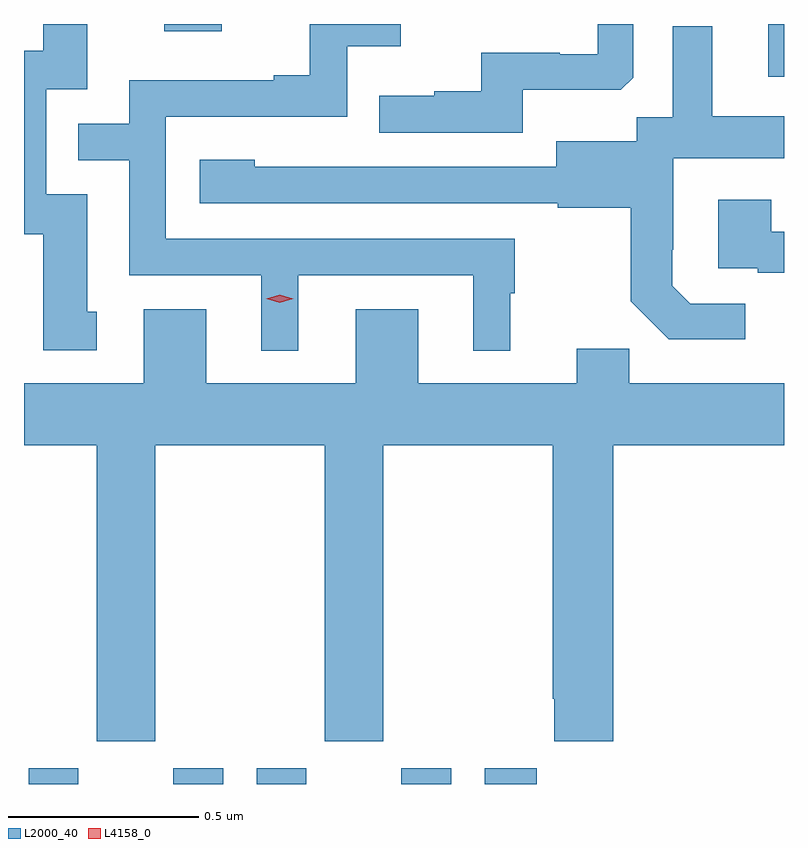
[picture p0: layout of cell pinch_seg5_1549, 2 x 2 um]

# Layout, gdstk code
import gdstk
lib = gdstk.Library(unit=1e-6, precision=1e-09)
def R(c, l, rs):  # rectangles x0, y0, x1, y1
    for r in rs: c.add(gdstk.rectangle(r[:2], r[2:], *l))
def P(c, l, *ps):  # polygons
    for p in ps: c.add(gdstk.Polygon(p, *l))
L2000_40 = (2000, 40)
L4158_0 = (4158, 0)

pinch_seg5_1549 = lib.new_cell('pinch_seg5_1549')
R(pinch_seg5_1549, L2000_40, [(197.69,843.881,197.821,843.922), (198.071,843.881,198.202,843.922), (198.29,843.881,198.421,843.922), (198.671,843.881,198.802,843.922), (198.89,843.881,199.027,843.922), (199.637,845.742,199.678,845.881), (198.047,845.862,198.199,845.881)])
P(pinch_seg5_1549, L2000_40, [(198.4,845.22),(198.86,845.22),(198.86,845.021),(198.958,845.021),(198.958,845.172),(198.97,845.172),(198.97,845.316),(198.051,845.316),(198.051,845.637),(198.528,845.637),(198.528,845.822),(198.67,845.822),(198.67,845.881),(198.43,845.881),(198.43,845.746),(198.335,845.746),(198.335,845.733),(197.955,845.733),(197.955,845.619),(197.821,845.619),(197.821,845.523),(197.955,845.523),(197.955,845.22),(198.302,845.22),(198.302,845.021),(198.4,845.021)],
  [(198.991,845.708),(199.249,845.708),(199.281,845.739),(199.281,845.881),(199.188,845.881),(199.188,845.802),(199.088,845.802),(199.088,845.805),(198.881,845.805),(198.881,845.704),(198.757,845.704),(198.757,845.692),(198.613,845.692),(198.613,845.595),(198.991,845.595)],
  [(197.869,845.124),(197.845,845.124),(197.845,845.433),(197.736,845.433),(197.736,845.709),(197.845,845.709),(197.845,845.881),(197.729,845.881),(197.729,845.81),(197.678,845.81),(197.678,845.328),(197.729,845.328),(197.729,845.022),(197.869,845.022)],
  [(199.576,845.145),(199.431,845.145),(199.384,845.192),(199.384,845.287),(199.386,845.287),(199.386,845.528),(199.678,845.528),(199.678,845.638),(199.489,845.638),(199.489,845.875),(199.385,845.875),(199.385,845.636),(199.29,845.636),(199.29,845.572),(199.079,845.572),(199.079,845.505),(198.521,845.505),(198.521,845.506),(198.285,845.506),(198.285,845.524),(198.141,845.524),(198.141,845.409),(199.083,845.409),(199.083,845.397),(199.275,845.397),(199.275,845.151),(199.375,845.051),(199.576,845.051)],
  [(199.678,845.334),(199.645,845.334),(199.645,845.419),(199.505,845.419),(199.505,845.238),(199.609,845.238),(199.609,845.226),(199.678,845.226)],
  [(198.024,844.772),(198.469,844.772),(198.469,843.993),(198.624,843.993),(198.624,844.772),(199.069,844.772),(199.069,844.105),(199.073,844.105),(199.073,843.993),(199.229,843.993),(199.229,844.772),(199.678,844.772),(199.678,844.936),(199.271,844.936),(199.271,845.027),(199.133,845.027),(199.133,844.936),(198.715,844.936),(198.715,845.131),(198.551,845.131),(198.551,844.936),(198.157,844.936),(198.157,845.131),(197.993,845.131),(197.993,844.936),(197.678,844.936),(197.678,844.772),(197.869,844.772),(197.869,843.993),(198.024,843.993)])
P(pinch_seg5_1549, L4158_0, [(198.351,845.148),(198.315,845.158),(198.315,845.158),(198.315,845.158),(198.351,845.168),(198.387,845.158),(198.387,845.158),(198.387,845.158)])

lib.write_gds('pinch_seg5_1549.gds')
